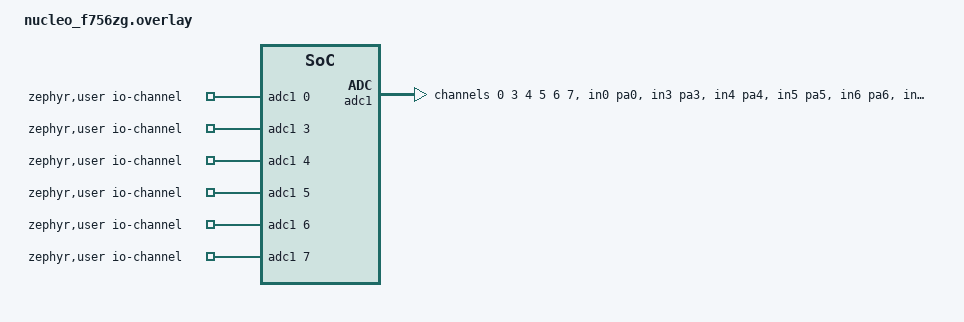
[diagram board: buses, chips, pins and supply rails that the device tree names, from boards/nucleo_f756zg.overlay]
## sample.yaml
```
sample:
  name: ADC devicetree driver sample
tests:
  sample.drivers.adc.adc_dt:
    tags:
      - adc
    depends_on: adc
    platform_allow:
      - nucleo_f756zg
    integration_platforms:
      - nucleo_f756zg
    harness: console
    timeout: 10
    harness_config:
      type: multi_line
      regex:
        - "ADC reading\\[\\d+\\]:"
        - "- .+, channel \\d+: -?\\d+"
```

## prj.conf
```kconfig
CONFIG_ADC=y

CONFIG_SHELL=y
CONFIG_ADC_SHELL=y

CONFIG_DMA=y
CONFIG_ADC_STM32_DMA=y
CONFIG_ADC_ASYNC=y

CONFIG_LOG=y
CONFIG_LOG_DEFAULT_LEVEL=3
```

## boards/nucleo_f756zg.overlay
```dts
/*
 * SPDX-License-Identifier: Apache-2.0
 *
 * Copyright (c) 2023 STMicroelectronics
 */
/ {
	zephyr,user {
		/* adjust channel number according to pinmux in board.dts */
		io-channels = <&adc1 0>, <&adc1 3>,
			<&adc1 4>, <&adc1 5>,
			<&adc1 6>, <&adc1 7>;
	};
};

&dma2 {
	status = "okay";
};

&adc1 {
	#address-cells = <1>;
	#size-cells = <0>;
	status = "okay";
	pinctrl-0 = <&adc1_in0_pa0>, <&adc1_in3_pa3>,
		<&adc1_in4_pa4>, <&adc1_in5_pa5>,
		<&adc1_in6_pa6>, <&adc1_in7_pa7>;
	pinctrl-names = "default";
	st,adc-clock-source = <SYNC>;
	st,adc-prescaler = <2>;

	dmas = <&dma2 0 0 (STM32_DMA_PERIPH_RX | STM32_DMA_MEM_16BITS |
		STM32_DMA_PERIPH_16BITS) STM32_DMA_FIFO_FULL>;
	dma-names = "dma";
	channel@0 {
		reg = <0>;
		zephyr,gain = "ADC_GAIN_1";
		zephyr,reference = "ADC_REF_INTERNAL";
		zephyr,acquisition-time = <ADC_ACQ_TIME_DEFAULT>;
		zephyr,resolution = <12>;
	};
	channel@3 {
		reg = <3>;
		zephyr,gain = "ADC_GAIN_1";
		zephyr,reference = "ADC_REF_INTERNAL";
		zephyr,acquisition-time = <ADC_ACQ_TIME_DEFAULT>;
		zephyr,resolution = <12>;
	};
	channel@4 {
		reg = <4>;
		zephyr,gain = "ADC_GAIN_1";
		zephyr,reference = "ADC_REF_INTERNAL";
		zephyr,acquisition-time = <ADC_ACQ_TIME_DEFAULT>;
		zephyr,resolution = <12>;
	};
	channel@5 {
		reg = <5>;
		zephyr,gain = "ADC_GAIN_1";
		zephyr,reference = "ADC_REF_INTERNAL";
		zephyr,acquisition-time = <ADC_ACQ_TIME_DEFAULT>;
		zephyr,resolution = <12>;
	};
	channel@6 {
		reg = <6>;
		zephyr,gain = "ADC_GAIN_1";
		zephyr,reference = "ADC_REF_INTERNAL";
		zephyr,acquisition-time = <ADC_ACQ_TIME_DEFAULT>;
		zephyr,resolution = <12>;
	};
	channel@7 {
		reg = <7>;
		zephyr,gain = "ADC_GAIN_1";
		zephyr,reference = "ADC_REF_INTERNAL";
		zephyr,acquisition-time = <ADC_ACQ_TIME_DEFAULT>;
		zephyr,resolution = <12>;
	};
};
```

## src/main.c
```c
/*
 * Copyright (c) 2020 Libre Solar Technologies GmbH
 *
 * SPDX-License-Identifier: Apache-2.0
 */

#include <inttypes.h>
#include <stddef.h>
#include <stdint.h>

#include <zephyr/device.h>
#include <zephyr/devicetree.h>
#include <zephyr/drivers/adc.h>
#include <zephyr/kernel.h>
#include <zephyr/sys/printk.h>
#include <zephyr/sys/util.h>
#include <zephyr/logging/log.h>

LOG_MODULE_REGISTER(main, CONFIG_LOG_DEFAULT_LEVEL);

#if !DT_NODE_EXISTS(DT_PATH(zephyr_user)) || \
	!DT_NODE_HAS_PROP(DT_PATH(zephyr_user), io_channels)
#error "No suitable devicetree overlay specified"
#endif

#define DT_SPEC_AND_COMMA(node_id, prop, idx) \
	ADC_DT_SPEC_GET_BY_IDX(node_id, idx),

/* Data of ADC io-channels specified in devicetree. */
static const struct adc_dt_spec adc_channels[] = {
	DT_FOREACH_PROP_ELEM(DT_PATH(zephyr_user), io_channels,
			     DT_SPEC_AND_COMMA)
};

adc_sequence_callback adc_callback(const struct device *dev,
		const struct adc_sequence *sequence,
		uint16_t sampling_index)
{
	if (sampling_index == 31) {
		/* Total number of samples reached (for all channels) */
		LOG_INF("Sampling %d", sampling_index);
		LOG_HEXDUMP_INF(sequence->buffer, 32 * 6, "Buffer:");
	}
	return(ADC_ACTION_CONTINUE);

}

int main(void)
{
	int err;
	uint32_t count = 0;
	uint16_t buf[32 * 6];
	const struct adc_sequence_options adc_options = {
		.interval_us = 100000,
		.callback = &adc_callback,
		/* How many to read -1 */
		.extra_samplings = 31,
	};
	struct adc_sequence sequence = {
		.buffer = buf,
		/* buffer size in bytes, not number of samples */
		.buffer_size = sizeof(buf),
		.options = &adc_options,
		.channels = 0xf9, /* 0b111110011, adc channels bitmask */
	};

	/* Configure channels individually prior to sampling. */
	for (size_t i = 0U; i < ARRAY_SIZE(adc_channels); i++) {
		if (!adc_is_ready_dt(&adc_channels[i])) {
			LOG_ERR("ADC controller device %s not ready\n", adc_channels[i].dev->name);
			return 0;
		}

		err = adc_channel_setup_dt(&adc_channels[i]);
		if (err < 0) {
			LOG_ERR("Could not setup channel #%d (%d)\n", i, err);
			return 0;
		}
	}
		/* Initializes sequence from channel 0 parameters */
		/* All elements hould have same resolution and oversampling parameters */
		(void)adc_sequence_init_dt(&adc_channels[0], &sequence);
		/* Re-set multiple channel config, rewritten by sequence_init */
		sequence.channels = 0xf9;

		/* Perform 3 batch readings of 32 samples on all channels*/
		for (size_t i = 0U; i < 3; i++) {
			err = adc_read_dt(&adc_channels[0], &sequence);
			if (err < 0) {
				printk("Could not read (%d)\n", err);
				continue;
			}
			k_sleep(K_MSEC(100));
		}

	/* Print results from the last batch */
	int16_t val;
	int u, j;
	for (u = 0; u < 6; u++) {
		LOG_INF("ADC %d:", u);
		for (j = 0; j < 32; j++) {
			val = ((int16_t *)sequence.buffer)[u + (j*6)];
			LOG_INF("%d ", val);
			k_sleep(K_MSEC(10));
		}
	}
	return 0;
}
```
